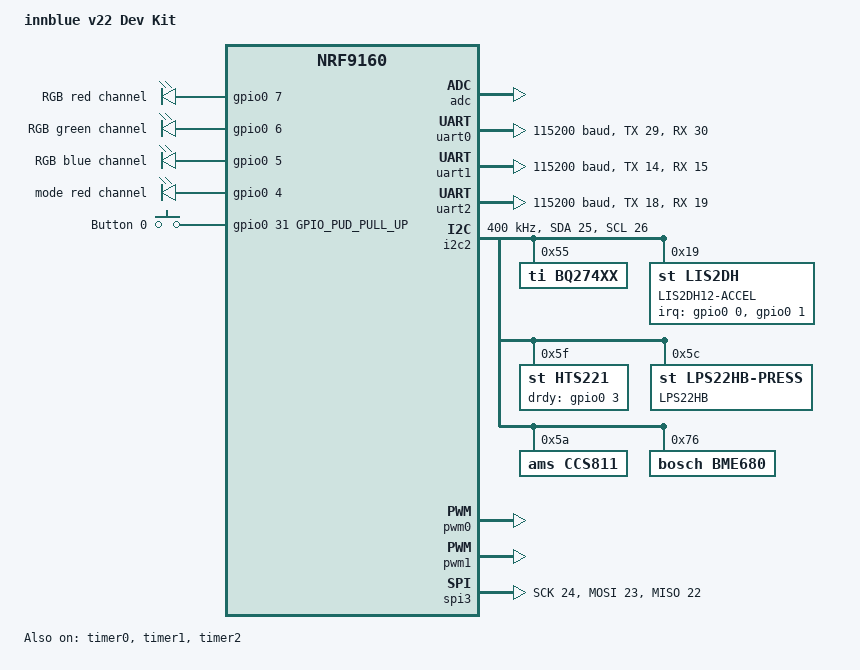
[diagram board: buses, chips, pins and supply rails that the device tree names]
/*
 * 2018, 2019, 2020 by innblue > Oleh Lozynskyy
 *
 * SPDX-License-Identifier: Apache-2.0
 *
 *
 * spi3  sck: 24 mosi: 23 miso: 22
 *
 * i2c SDA: 25 SCL: 26 (pullup 4k7)
 *
 * i2c: hts221     0x5f int 3     // U8 - relative humidity and temperature
 *      lps22hb    0x5c int 2     // U7 - piezoresistive absolute pressure
 *      ccs811     0x5a int 8     // U1 - air quality, gas sensor, Volatile Organic Compounds (VOCs), 
 *      lis2dh     0x19 int 0,1   // U6 - accelerometer
 *      bme680     0x76           // U5 - Air quality measurement: pressure, temp, rel hum, gas VOC
 *      atecc608A  0x??           // U3 - CryptoChip, ECDH, ECDSA. storage 16keys
 *      bq25892    0x6a           // u4 - Qi charger
 *      bq27421    0x55           // U5 - fuel Gauge
 *
 * Enable Sensors 3.3V -> 12  // U9 - 3v3 sensor rail
 *
 * Mode - button on 31
 * RGB LED on 5,6,7 (b,g,r)
 * Mode LED on 4
 * extra LEN on 9
 *
 * p18_a5 -> NTC  (res to gnd: 4k7)
 * p19_a6 -> enable NTC
 *
 * p27 is on ccs811 nRESET
 * p28 is on ccs811 nWAKE
 *
 * Enable 5V Boost on 21   // U11 5v0 Reg
 * Speed Sensor on 13 (A0) // 
 *
 * Battery Level ADC on 20 (A7)
 *
 * UART0 rx: 30 tx: 29
 * UART1 rx: 15 tx: 14
 *
 * avail A pins: 14,15, 16,17
 * 
 * free:  16, 17,  
 *
 */

/ {
	model = "innblue v22 Dev Kit";
	compatible = "innblue,innblue22", "nordic,nrf9160-sica", "nordic,nrf9160";

	chosen {
		zephyr,console = &uart0;
		zephyr,shell-uart = &uart0;
		zephyr,uart-mcumgr = &uart0;
	};

	
	leds {
		compatible = "gpio-leds";
		red_led: led_1 {
			gpios = <&gpio0 7 0>;
			label = "RGB red channel";
		};
		green_led: led_2 {
			gpios = <&gpio0 6 0>;
			label = "RGB green channel";
		};
		blue_led: led_3 {
			gpios = <&gpio0 5 0>;
			label = "RGB blue channel";
		};

		mode_led: led_4 {
			gpios = <&gpio0 4 0>;
			label = "mode red channel";
		};

		/* ARE on PWM!
		led0: led_0 {
			gpios = <&gpio0 5 GPIO_INT_ACTIVE_LOW>;
			label = "Blue  LED 1";
		};
		led1: led_1 {
			gpios = <&gpio0 6 GPIO_INT_ACTIVE_LOW>;
			label = "Green LED 2";
		};
		led2: led_2 {
			gpios = <&gpio0 7 GPIO_INT_ACTIVE_LOW>;
			label = "Red   LED 3";
		};
		
		led3: led_3 {
			gpios = <&gpio0 4 GPIO_INT_ACTIVE_LOW>;
			label = "Red   LED Mode";
		};
		*/
	};

	buttons {
		compatible = "gpio-keys";

		button0: button_0 {
			gpios = <&gpio0 31 GPIO_PUD_PULL_UP>;
			label = "Button 0";
		};
	};

	/* These aliases are provided for compatibility with samples */
	aliases {
		led0 = &red_led;
		led1 = &green_led;
		led2 = &blue_led;

		led3 = &mode_led;
		/*
		led0 = &led0;
		led1 = &led1;
		led2 = &led2;
		*/
		/* led3 = &led3; -> on pwm */
		sw0  = &button0;
		rgb-pwm  = &pwm0;
		mode-pwm = &pwm1;
	};
};

&adc {
	status = "okay";
};

&gpiote {
	status = "okay";
};

&gpio0 {
	status = "okay";
};

&uart0 {
	status = "okay";
	current-speed = <115200>;
	tx-pin = <29>;
	rx-pin = <30>;

};

&uart1 {
	status = "okay";
	current-speed = <115200>;
	tx-pin = <14>;
	rx-pin = <15>;
};

&uart2 {
	current-speed = <115200>;
	tx-pin = <18>;
	rx-pin = <19>;
};


&i2c2 {
	compatible = "nordic,nrf-twim";
	status = "okay";
	sda-pin = <25>;
	scl-pin = <26>;
	
  	clock-frequency = <I2C_BITRATE_FAST>; 
/*	clock-frequency = <I2C_BITRATE_STANDARD>; */ 
	
	bq27421@55 {
		compatible = "ti,bq274xx";
		label = "BQ274XX";
		reg = <0x55>;
	};

	lis2dh12-accel@19 {
		compatible = "st,lis2dh";
		reg = <0x19>;
		irq-gpios = <&gpio0 0 0>, <&gpio0 1 0>;
		label = "LIS2DH12-ACCEL";
	};	
	
	
	hts221@5f {
		compatible = "st,hts221";
		reg = <0x5f>;
		/* irq-gpios = <&gpio0 3 0>; */
		drdy-gpios = <&gpio0 3 GPIO_INT_ACTIVE_HIGH>;
		label = "HTS221";
	};

	lps22hb-press@5c {
		compatible = "st,lps22hb-press";
		reg = <0x5c>;
		/* irq-gpios = <&gpio0 2 0>; */
		label = "LPS22HB";
	};
	
	ccs811: ccs811@5a {
		compatible = "ams,ccs811";
		reg = <0x5a>;
		/*drdy-gpios = <&gpio0 8 GPIO_INT_ACTIVE_HIGH>;*/
		/*irq-gpios = <&gpio0 8 0>;*/
		label = "CCS811";
	};

	bme680@76 {
		compatible = "bosch,bme680";
		label = "BME680";
		reg = <0x76>;
	};


};

&pwm0 {
	status = "okay";
	ch0-pin = <5>;
	ch1-pin = <6>;
	ch2-pin = <7>;
	ch0-inverted;
	ch1-inverted;
	ch2-inverted;
	/* board v2 has it ok: ch0-inverted; */
};

&pwm1 {
	status = "okay";
	ch0-pin = <4>;
	ch0-inverted;
	ch1-pin = <9>;
	ch1-inverted;
	/* board v2 has it ok: ch0-inverted; */
};



&spi3 {
	status = "okay";
	sck-pin = <24>;
	mosi-pin = <23>;
	miso-pin = <22>;
};

&timer0 {
	status = "okay";
};

&timer1 {
	status = "okay";
};

&timer2 {
	status = "okay";
};

&flash0 {
	/*
	 * For more information, see:
	 * http://docs.zephyrproject.org/latest/guides/dts/index.html#flash-partitions
	 */
	partitions {
		compatible = "fixed-partitions";
		#address-cells = <1>;
		#size-cells = <1>;

		boot_partition: partition@0 {
			label = "mcuboot";
			reg = <0x00000000 0x10000>;
		};
		slot0_partition: partition@10000 {
			label = "image-0";
		};
		slot0_ns_partition: partition@40000 {
			label = "image-0-nonsecure";
		};
		slot1_partition: partition@80000 {
			label = "image-1";
		};
		slot1_ns_partition: partition@b0000 {
			label = "image-1-nonsecure";
		};
		scratch_partition: partition@f0000 {
			label = "image-scratch";
			reg = <0x000f0000 0xa000>;
		};
		storage_partition: partition@fa000 {
			label = "storage";
			reg = <0x000fa000 0x00006000>;
		};
	};
};

/ {
	/* SRAM allocated and used by the BSD library */
	sram0_bsd: memory@20010000 {
		device_type = "memory";
		compatible = "mmio-sram";
	};

	/* SRAM allocated to the Non-Secure image */
	sram0_ns: memory@20020000 {
		device_type = "memory";
		compatible = "mmio-sram";
	};
};

/* Include partition configuration file */
#include "nrf9160_innblue22_partition_conf.dts"
